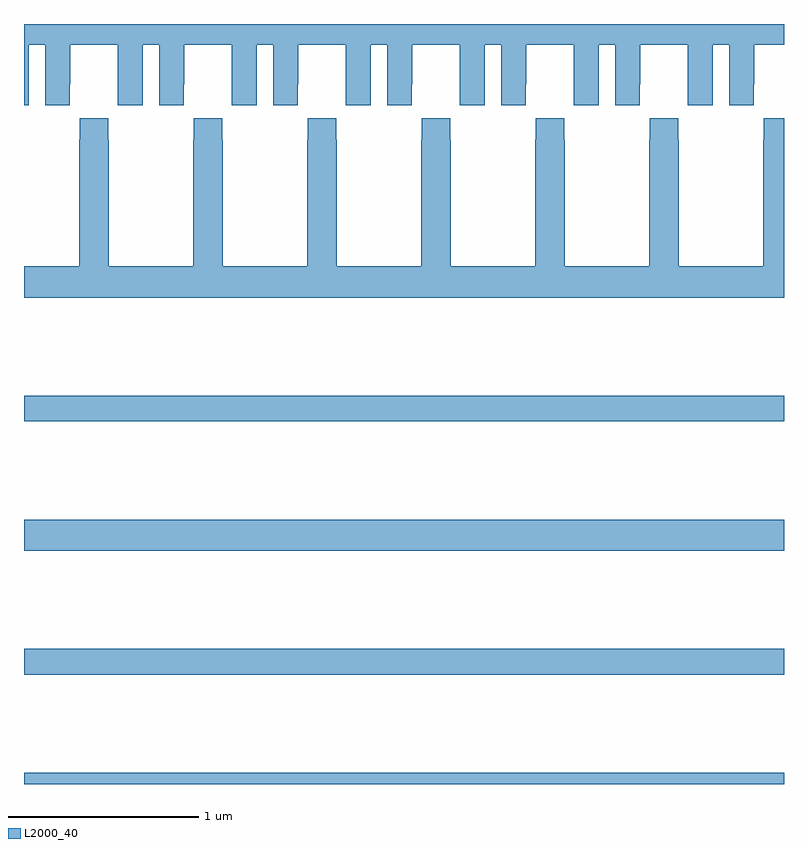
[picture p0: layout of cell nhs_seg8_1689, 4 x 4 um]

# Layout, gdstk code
import gdstk
lib = gdstk.Library(unit=1e-6, precision=1e-09)
def R(c, l, rs):  # rectangles x0, y0, x1, y1
    for r in rs: c.add(gdstk.rectangle(r[:2], r[2:], *l))
def P(c, l, *ps):  # polygons
    for p in ps: c.add(gdstk.Polygon(p, *l))
L2000_40 = (2000, 40)

nhs_seg8_1689 = lib.new_cell('nhs_seg8_1689')
R(nhs_seg8_1689, L2000_40, [(217,1153.9,221,1153.96), (217,1154.476,221,1154.612), (217,1155.128,221,1155.292), (217,1155.808,221,1155.944)])
P(nhs_seg8_1689, L2000_40, [(217.024,1157.792),(217.112,1157.792),(217.112,1157.472),(217.242,1157.472),(217.242,1157.584),(217.243,1157.584),(217.243,1157.792),(217.493,1157.792),(217.493,1157.584),(217.494,1157.584),(217.494,1157.472),(217.624,1157.472),(217.624,1157.792),(217.712,1157.792),(217.712,1157.472),(217.842,1157.472),(217.842,1157.584),(217.843,1157.584),(217.843,1157.792),(218.093,1157.792),(218.093,1157.584),(218.094,1157.584),(218.094,1157.472),(218.224,1157.472),(218.224,1157.792),(218.312,1157.792),(218.312,1157.472),(218.442,1157.472),(218.442,1157.584),(218.443,1157.584),(218.443,1157.792),(218.693,1157.792),(218.693,1157.584),(218.694,1157.584),(218.694,1157.472),(218.824,1157.472),(218.824,1157.792),(218.912,1157.792),(218.912,1157.472),(219.042,1157.472),(219.042,1157.584),(219.043,1157.584),(219.043,1157.792),(219.293,1157.792),(219.293,1157.584),(219.294,1157.584),(219.294,1157.472),(219.424,1157.472),(219.424,1157.792),(219.512,1157.792),(219.512,1157.472),(219.642,1157.472),(219.642,1157.584),(219.643,1157.584),(219.643,1157.792),(219.893,1157.792),(219.893,1157.584),(219.894,1157.584),(219.894,1157.472),(220.024,1157.472),(220.024,1157.792),(220.112,1157.792),(220.112,1157.472),(220.242,1157.472),(220.242,1157.584),(220.243,1157.584),(220.243,1157.792),(220.493,1157.792),(220.493,1157.584),(220.494,1157.584),(220.494,1157.472),(220.624,1157.472),(220.624,1157.792),(220.712,1157.792),(220.712,1157.472),(220.842,1157.472),(220.842,1157.584),(220.843,1157.584),(220.843,1157.792),(221,1157.792),(221,1157.9),(217,1157.9),(217,1157.472),(217.024,1157.472)],
  [(221,1157.404),(220.893,1157.404),(220.893,1157.291),(220.891,1157.291),(220.891,1156.624),(220.446,1156.624),(220.446,1157.291),(220.443,1157.291),(220.443,1157.404),(220.293,1157.404),(220.293,1157.291),(220.291,1157.291),(220.291,1156.624),(219.846,1156.624),(219.846,1157.291),(219.843,1157.291),(219.843,1157.404),(219.693,1157.404),(219.693,1157.291),(219.691,1157.291),(219.691,1156.624),(219.246,1156.624),(219.246,1157.291),(219.243,1157.291),(219.243,1157.404),(219.093,1157.404),(219.093,1157.291),(219.091,1157.291),(219.091,1156.624),(218.646,1156.624),(218.646,1157.291),(218.643,1157.291),(218.643,1157.404),(218.493,1157.404),(218.493,1157.291),(218.491,1157.291),(218.491,1156.624),(218.046,1156.624),(218.046,1157.291),(218.043,1157.291),(218.043,1157.404),(217.893,1157.404),(217.893,1157.291),(217.891,1157.291),(217.891,1156.624),(217.446,1156.624),(217.446,1157.291),(217.443,1157.291),(217.443,1157.404),(217.293,1157.404),(217.293,1157.291),(217.291,1157.291),(217.291,1156.624),(217,1156.624),(217,1156.46),(221,1156.46)])

lib.write_gds('nhs_seg8_1689.gds')
